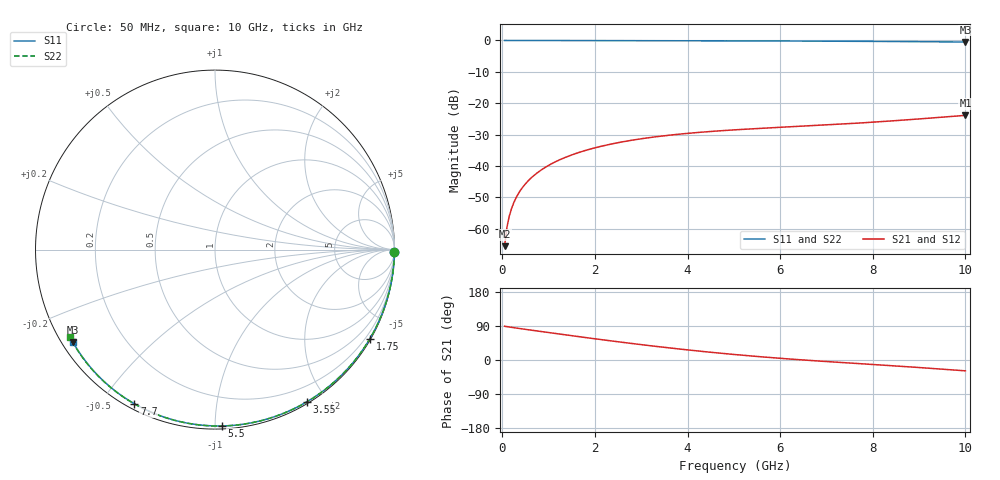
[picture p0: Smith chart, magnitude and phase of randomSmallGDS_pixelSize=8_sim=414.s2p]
! freq	dB(S11)	phase(S11)	dB(S12)	phase(S12)
!  dB(S21)	phase(S21)	dB(S22)	phase(S22)
!S-par simulation data
#  GHz  S  DB  R 50
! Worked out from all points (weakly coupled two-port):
!   200 points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, 50 MHz to 10 GHz, reference 50 ohm
!   highest |S21| = -23.88 dB at 10 GHz (marker M1); lowest = -65.6 dB at 50 MHz (marker M2)
!   lowest |S11| = -0.5 dB at 10 GHz (marker M3), VSWR 35.05, Z = 1.55 - j14.8 ohm
!   |S11| at or under -10 dB: nowhere
!   |S22| runs from -0.5 to 0.0 dB; largest |S21 - S12| = 0
!   S11 on the Smith chart (normalised r, x): 50 MHz: open; 1.75 GHz: 0.03, -3.75; 3.55 GHz: 0.02, -1.77; 5.5 GHz: 0.02, -1.04; 7.7 GHz: 0.02, -0.61; 10 GHz: 0.03, -0.30
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0.05  -0.00 -0.9  -65.58 89.0  -65.58 89.0  -0.00 -0.9
0.1  -0.00 -1.7  -59.57 88.0  -59.57 88.0  -0.00 -1.8
0.15  -0.00 -2.6  -56.06 87.1  -56.06 87.1  -0.00 -2.6
0.2  -0.00 -3.5  -53.58 86.1  -53.58 86.1  -0.00 -3.5
0.25  -0.00 -4.3  -51.65 85.2  -51.65 85.2  -0.00 -4.4
0.35  -0.00 -6.1  -48.76 83.5  -48.76 83.5  -0.00 -6.2
0.5  -0.01 -8.7  -45.71 80.9  -45.71 80.9  -0.01 -8.8
0.7  -0.01 -12.1  -42.84 77.5  -42.84 77.5  -0.01 -12.3
1  -0.02 -17.2  -39.83 72.4  -39.83 72.4  -0.02 -17.5
1.35  -0.03 -23.2  -37.34 66.6  -37.34 66.6  -0.03 -23.5
1.75  -0.04 -29.9  -35.26 60.0  -35.26 60.0  -0.04 -30.3
2.5  -0.06 -42.2  -32.59 48.1  -32.59 48.1  -0.06 -42.9
3.4  -0.08 -56.6  -30.55 34.8  -30.55 34.8  -0.08 -57.4
3.55  -0.08 -58.9  -30.30 32.7  -30.30 32.7  -0.08 -59.8
4.3  -0.10 -70.4  -29.24 22.8  -29.24 22.8  -0.10 -71.4
5.05  -0.13 -81.4  -28.47 14.1  -28.47 14.1  -0.13 -82.6
5.5  -0.15 -87.9  -28.09 9.3  -28.09 9.3  -0.15 -89.1
6.7  -0.21 -104.4  -27.17 -1.6  -27.17 -1.6  -0.21 -105.8
7.7  -0.27 -117.6  -26.34 -9.5  -26.34 -9.5  -0.27 -119.2
8.35  -0.32 -125.9  -25.71 -14.6  -25.71 -14.6  -0.33 -127.7
9.2  -0.41 -136.8  -24.80 -21.5  -24.80 -21.5  -0.41 -138.7
10  -0.50 -147.0  -23.88 -28.6  -23.88 -28.6  -0.50 -149.0
